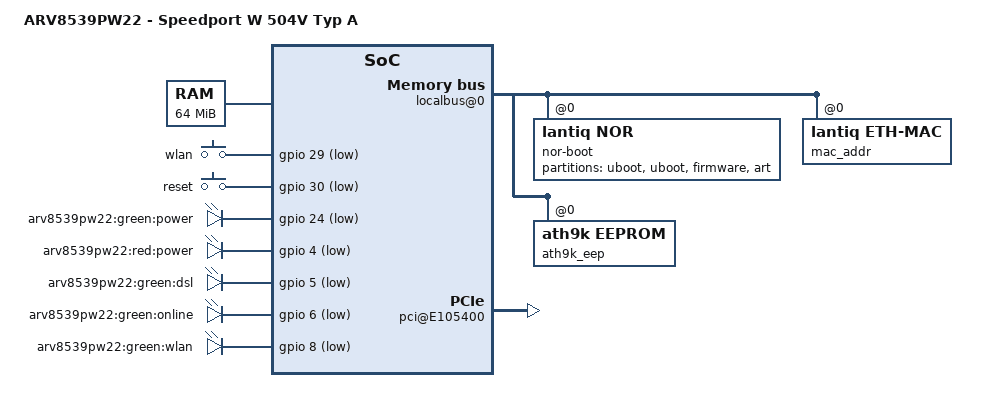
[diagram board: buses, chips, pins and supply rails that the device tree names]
/dts-v1/;

/include/ "danube.dtsi"

/ {
        model = "ARV8539PW22 - Speedport W 504V Typ A";

	    chosen {
		    leds {
                boot = &power_green;
                failsafe = &power_red;
                running = &power_green;

			    dsl = &dsl_green;
			    internet = &online_green;
			    wifi = &wireless_green;
		    };
	    };

        memory@0 {
                reg = <0x0 0x4000000>;
        };

        sram@1F000000 {
                vmmc@107000 {
                        status = "okay";
                        gpios = <&gpio 31 0>;
                };
        };

        fpi@10000000 {
                localbus@0 {
                        nor-boot@0 {
                                compatible = "lantiq,nor";
                                bank-width = <2>;
                                reg = <0 0x0 0x800000>;
                                #address-cells = <1>;
                                #size-cells = <1>;

                                partition@0 {
                                        label = "uboot";
                                        reg = <0x00000 0x30000>;        /* 192 KiB */
                                        read-only;
                                };

                                partition@30000 {
                                        label = "uboot";
                                        reg = <0x30000 0x10000>;        /* 64 KiB */
                                        read-only;
                                };

                                partition@40000 {
                                        label = "firmware";
                                        reg = <0x40000 0x7B0000>;       /* 7872 KiB */
                                };

                                partition@7F0000 {
                                        label = "art";
                                        reg = <0x7F0000 0x10000>;       /* 64 KiB*/
                                        read-only;
                                };
                        };

                        mac_addr {
                                compatible = "lantiq,eth-mac";
                                reg = <0 0x7f0016 0x6>;
                                mac-increment = <2>;
                        };

                        ath9k_eep {
                                compatible = "ath9k,eeprom";
                                reg = <0 0x7f0400 0x1000
                                        0 0x7f0016 0x6>;
                                ath,mac-increment = <1>;
                                ath,pci-slot = <14>;
                                ath,eep-endian;
                                ath,arv-ath9k-fix;
                        };
                };

                gpio: pinmux@E100B10 {
                        pinctrl-names = "default";
                        pinctrl-0 = <&state_default>;

                        state_default: pinmux {

                                pci_in {
                                        lantiq,groups = "req1";
                                        lantiq,function = "pci";
                                        lantiq,open-drain = <1>;
                                        lantiq,pull = <2>;
                                        lantiq,output = <0>;
                                };
                                pci_out {
                                        lantiq,groups = "gnt1";
                                        lantiq,function = "pci";
                                        lantiq,output = <1>;
                                };
                                pci_rst {
                                        lantiq,pins = "io21";
                                        lantiq,pull = <2>;
                                        lantiq,output = <1>;
                                };
                                relay {
                                        lantiq,pins = "io31";
                                        lantiq,output = <1>;
                                };
                        };
                };

                etop@E180000 {
                        phy-mode = "mii";
                };

                pci@E105400 {
                        status = "okay";
                        gpio-reset = <&gpio 21 0>;
                };

                ifxhcd@E101000 {
                        status = "okay";
                        gpios = <&gpio 14 0>;
                        lantiq,portmask = <0x3>;
                };

        };

        gpio-keys-polled {
                compatible = "gpio-keys-polled";
                #address-cells = <1>;
                #size-cells = <0>;
                poll-interval = <100>;

                wlan {
                        label = "wlan";
                        gpios = <&gpio 29 1>;
                        linux,code = <0x211>;
                };
                reset {
                        label = "reset";
                        gpios = <&gpio 30 1>;
                        linux,code = <0x198>;
                };
        };

        gpio-leds {
                compatible = "gpio-leds";

                power_green: power-green {
                        label = "arv8539pw22:green:power";
                        gpios = <&gpio 24 1>;
                        default-state = "keep";
                };
                power_red: power-red {
                        label = "arv8539pw22:red:power";
                        gpios = <&gpio 4 1>;
                };

                dsl_green: dsl-green {
                        label = "arv8539pw22:green:dsl";
                        gpios = <&gpio 5 1>;
                };

                online_green: online-green {
                        label = "arv8539pw22:green:online";
                        gpios = <&gpio 6 1>;
                };

                wireless_green: wireless-green {
                        label = "arv8539pw22:green:wlan";
                        gpios = <&gpio 8 1>;
                };
                /*
                        telefonie green is missing
                */
        };
};

